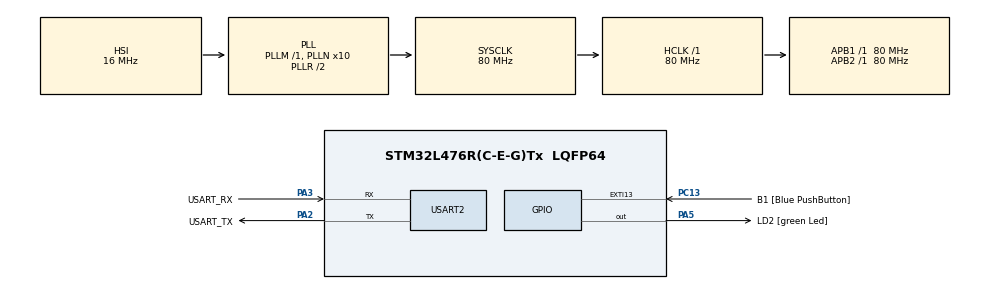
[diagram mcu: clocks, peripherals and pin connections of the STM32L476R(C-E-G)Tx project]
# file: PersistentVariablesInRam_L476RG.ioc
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Mcu.Family=STM32L4
Mcu.Name=STM32L476R(C-E-G)Tx
Mcu.Package=LQFP64
NVIC.PriorityGroup=NVIC_PRIORITYGROUP_4
PA13\ (JTMS-SWDIO).GPIO_Label=TMS
PA13\ (JTMS-SWDIO).Mode=Serial_Wire
PA13\ (JTMS-SWDIO).Signal=SYS_JTMS-SWDIO
PA14\ (JTCK-SWCLK).GPIO_Label=TCK
PA14\ (JTCK-SWCLK).Mode=Serial_Wire
PA14\ (JTCK-SWCLK).Signal=SYS_JTCK-SWCLK
PA2.GPIO_Label=USART_TX
PA2.GPIO_Mode=GPIO_MODE_AF_PP
PA2.GPIO_PuPd=GPIO_NOPULL
PA2.GPIO_Speed=GPIO_SPEED_FREQ_VERY_HIGH
PA2.Mode=Asynchronous
PA2.Signal=USART2_TX
PA3.GPIO_Label=USART_RX
PA3.GPIO_Mode=GPIO_MODE_AF_PP
PA3.GPIO_PuPd=GPIO_NOPULL
PA3.GPIO_Speed=GPIO_SPEED_FREQ_VERY_HIGH
PA3.Mode=Asynchronous
PA3.Signal=USART2_RX
PA5.GPIO_Label=LD2 [green Led]
PA5.GPIO_ModeDefaultOutputPP=GPIO_MODE_OUTPUT_PP
PA5.GPIO_PuPd=GPIO_NOPULL
PA5.GPIO_Speed=GPIO_SPEED_FREQ_LOW
PA5.Signal=GPIO_Output
PB3\ (JTDO-TRACESWO).GPIO_Label=SWO
PB3\ (JTDO-TRACESWO).Signal=SYS_JTDO-SWO
PC13.GPIO_Label=B1 [Blue PushButton]
PC13.GPIO_ModeDefaultEXTI=GPIO_MODE_IT_FALLING
PC13.GPIO_PuPd=GPIO_NOPULL
PC13.Signal=GPXTI13
PC14-OSC32_IN\ (PC14).Mode=LSE-External-Oscillator
PC14-OSC32_IN\ (PC14).Signal=RCC_OSC32_IN
PC15-OSC32_OUT\ (PC15).Mode=LSE-External-Oscillator
PC15-OSC32_OUT\ (PC15).Signal=RCC_OSC32_OUT
PH0-OSC_IN\ (PH0).Signal=RCC_OSC_IN
PH1-OSC_OUT\ (PH1).Signal=RCC_OSC_OUT
ProjectManager.HeapSize=0x200
ProjectManager.StackSize=0x400
ProjectManager.TargetToolchain=STM32CubeIDE
RCC.ADCFreq_Value=64000000
RCC.AHBFreq_Value=80000000
RCC.APB1Freq_Value=80000000
RCC.APB1TimFreq_Value=80000000
RCC.APB2Freq_Value=80000000
RCC.APB2TimFreq_Value=80000000
RCC.CortexFreq_Value=80000000
RCC.HCLKFreq_Value=80000000
RCC.HSE_VALUE=8000000
RCC.HSI_VALUE=16000000
RCC.MSI_VALUE=4000000
RCC.PLLN=10
RCC.PLLSourceVirtual=RCC_PLLSOURCE_HSI
RCC.PREFETCH_ENABLE=1
RCC.SYSCLKFreq_VALUE=80000000
RCC.SYSCLKSource=RCC_SYSCLKSOURCE_PLLCLK
RCC.USBFreq_Value=64000000
RCC.VCOOutputFreq_Value=160000000
USART2.VirtualMode-Asynchronous=VM_ASYNC
VP_CRC_VS_CRC.Mode=CRC_Activate
board=NUCLEO-L476RG

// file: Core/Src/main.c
/* USER CODE BEGIN Header */
/**
  ******************************************************************************
  * @file           : main.c
  * @brief          : Main program body
  ******************************************************************************
  * @attention
  *
  * Copyright (c) 2023 STMicroelectronics.
  * All rights reserved.
  *
  * This software is licensed under terms that can be found in the LICENSE file
  * in the root directory of this software component.
  * If no LICENSE file comes with this software, it is provided AS-IS.
  *
  ******************************************************************************
  */
/* USER CODE END Header */
#include "main.h"

/* USER CODE BEGIN Includes */
#include <stdio.h>
/* USER CODE END Includes */

CRC_HandleTypeDef hcrc;

UART_HandleTypeDef huart2;

/* USER CODE BEGIN PV */
uint32_t counter __attribute__((section(".noinit")));
uint32_t counter_crc __attribute__((section(".noinit")));
/* USER CODE END PV */

void SystemClock_Config(void);
static void MX_GPIO_Init(void);
static void MX_USART2_UART_Init(void);
static void MX_CRC_Init(void);
/* USER CODE BEGIN PFP */
static void persistent_variables_init(void);
/* USER CODE END PFP */

int main(void)
{

  /* MCU Configuration--------------------------------------------------------*/

  /* Reset of all peripherals, Initializes the Flash interface and the Systick. */
  HAL_Init();

  /* Configure the system clock */
  SystemClock_Config();

  /* Initialize all configured peripherals */
  MX_GPIO_Init();
  MX_USART2_UART_Init();
  MX_CRC_Init();
  /* USER CODE BEGIN 2 */
  persistent_variables_init();
  /* USER CODE END 2 */

  /* Infinite loop */
  /* USER CODE BEGIN WHILE */
  while (1)
  {
    printf("counter: %lu\r\n", counter);
    counter++;
    counter_crc = HAL_CRC_Calculate(&hcrc, &counter, 1);
    HAL_Delay(1000);
    /* USER CODE END WHILE */

  }
}

void SystemClock_Config(void)
{
  RCC_OscInitTypeDef RCC_OscInitStruct = {0};
  RCC_ClkInitTypeDef RCC_ClkInitStruct = {0};

  /** Configure the main internal regulator output voltage
  */
  if (HAL_PWREx_ControlVoltageScaling(PWR_REGULATOR_VOLTAGE_SCALE1) != HAL_OK)
  {
    Error_Handler();
  }

  /** Initializes the RCC Oscillators according to the specified parameters
  * in the RCC_OscInitTypeDef structure.
  */
  RCC_OscInitStruct.OscillatorType = RCC_OSCILLATORTYPE_HSI;
  RCC_OscInitStruct.HSIState = RCC_HSI_ON;
  RCC_OscInitStruct.HSICalibrationValue = RCC_HSICALIBRATION_DEFAULT;
  RCC_OscInitStruct.PLL.PLLState = RCC_PLL_ON;
  RCC_OscInitStruct.PLL.PLLSource = RCC_PLLSOURCE_HSI;
  RCC_OscInitStruct.PLL.PLLM = 1;
  RCC_OscInitStruct.PLL.PLLN = 10;
  RCC_OscInitStruct.PLL.PLLP = RCC_PLLP_DIV7;
  RCC_OscInitStruct.PLL.PLLQ = RCC_PLLQ_DIV2;
  RCC_OscInitStruct.PLL.PLLR = RCC_PLLR_DIV2;
  if (HAL_RCC_OscConfig(&RCC_OscInitStruct) != HAL_OK)
  {
    Error_Handler();
  }

  /** Initializes the CPU, AHB and APB buses clocks
  */
  RCC_ClkInitStruct.ClockType = RCC_CLOCKTYPE_HCLK|RCC_CLOCKTYPE_SYSCLK
                              |RCC_CLOCKTYPE_PCLK1|RCC_CLOCKTYPE_PCLK2;
  RCC_ClkInitStruct.SYSCLKSource = RCC_SYSCLKSOURCE_PLLCLK;
  RCC_ClkInitStruct.AHBCLKDivider = RCC_SYSCLK_DIV1;
  RCC_ClkInitStruct.APB1CLKDivider = RCC_HCLK_DIV1;
  RCC_ClkInitStruct.APB2CLKDivider = RCC_HCLK_DIV1;

  if (HAL_RCC_ClockConfig(&RCC_ClkInitStruct, FLASH_LATENCY_4) != HAL_OK)
  {
    Error_Handler();
  }
}

static void MX_CRC_Init(void)
{

  hcrc.Instance = CRC;
  hcrc.Init.DefaultPolynomialUse = DEFAULT_POLYNOMIAL_ENABLE;
  hcrc.Init.DefaultInitValueUse = DEFAULT_INIT_VALUE_ENABLE;
  hcrc.Init.InputDataInversionMode = CRC_INPUTDATA_INVERSION_NONE;
  hcrc.Init.OutputDataInversionMode = CRC_OUTPUTDATA_INVERSION_DISABLE;
  hcrc.InputDataFormat = CRC_INPUTDATA_FORMAT_BYTES;
  if (HAL_CRC_Init(&hcrc) != HAL_OK)
  {
    Error_Handler();
  }

}

static void MX_USART2_UART_Init(void)
{

  huart2.Instance = USART2;
  huart2.Init.BaudRate = 115200;
  huart2.Init.WordLength = UART_WORDLENGTH_8B;
  huart2.Init.StopBits = UART_STOPBITS_1;
  huart2.Init.Parity = UART_PARITY_NONE;
  huart2.Init.Mode = UART_MODE_TX_RX;
  huart2.Init.HwFlowCtl = UART_HWCONTROL_NONE;
  huart2.Init.OverSampling = UART_OVERSAMPLING_16;
  huart2.Init.OneBitSampling = UART_ONE_BIT_SAMPLE_DISABLE;
  huart2.AdvancedInit.AdvFeatureInit = UART_ADVFEATURE_NO_INIT;
  if (HAL_UART_Init(&huart2) != HAL_OK)
  {
    Error_Handler();
  }

}

static void MX_GPIO_Init(void)
{
  GPIO_InitTypeDef GPIO_InitStruct = {0};

  /* GPIO Ports Clock Enable */
  __HAL_RCC_GPIOC_CLK_ENABLE();
  __HAL_RCC_GPIOH_CLK_ENABLE();
  __HAL_RCC_GPIOA_CLK_ENABLE();
  __HAL_RCC_GPIOB_CLK_ENABLE();

  /*Configure GPIO pin Output Level */
  HAL_GPIO_WritePin(LD2_GPIO_Port, LD2_Pin, GPIO_PIN_RESET);

  /*Configure GPIO pin : B1_Pin */
  GPIO_InitStruct.Pin = B1_Pin;
  GPIO_InitStruct.Mode = GPIO_MODE_IT_FALLING;
  GPIO_InitStruct.Pull = GPIO_NOPULL;
  HAL_GPIO_Init(B1_GPIO_Port, &GPIO_InitStruct);

  /*Configure GPIO pin : LD2_Pin */
  GPIO_InitStruct.Pin = LD2_Pin;
  GPIO_InitStruct.Mode = GPIO_MODE_OUTPUT_PP;
  GPIO_InitStruct.Pull = GPIO_NOPULL;
  GPIO_InitStruct.Speed = GPIO_SPEED_FREQ_LOW;
  HAL_GPIO_Init(LD2_GPIO_Port, &GPIO_InitStruct);

}

/* USER CODE BEGIN 4 */
static void persistent_variables_init(void)
{
  if (HAL_CRC_Calculate(&hcrc, &counter, 1) != counter_crc)
  {
    counter = 0;
    counter_crc = HAL_CRC_Calculate(&hcrc, &counter, 1);
  }
}

int _write(int handle, char* data, int size)
{
  int count = size;
  while (count--)
  {
    while (!(USART2->ISR & USART_ISR_TXE)) __NOP();
    USART2->TDR = *data++;
  }
  return size;
}
/* USER CODE END 4 */

void Error_Handler(void)
{
  __disable_irq();
  while (1)
  {
  }
}
